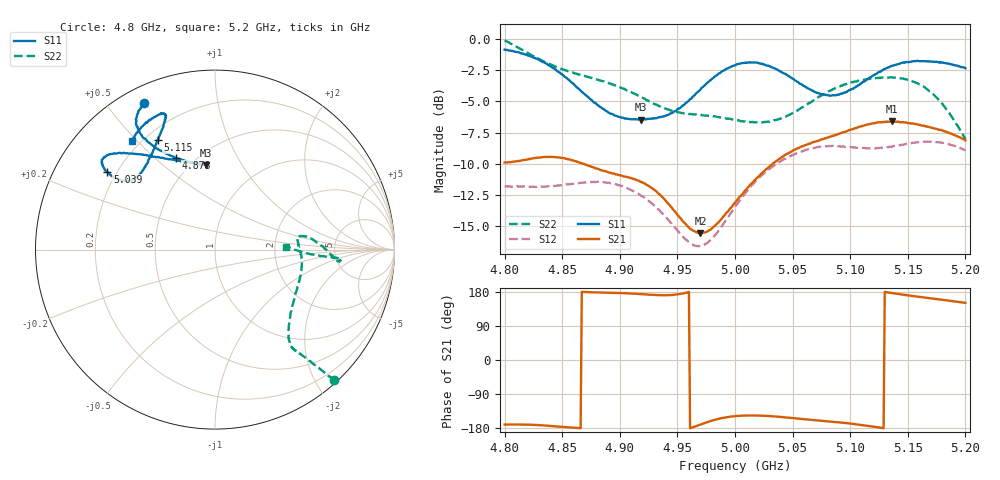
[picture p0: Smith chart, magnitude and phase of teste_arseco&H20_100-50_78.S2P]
! Network Analyzer HP8722D
! Hewlett-Packard
! Data name: Linha & Wilkinson
! Saver's name: Rodrigo Anjos
! Comments: Teste da utilização de aquisição
! continua pelo VNA HP8722D
! Time and date: 6/5/2025 13:13
!  Frequency  S11  S21  S12  S22
# HZ  S  MA R 50
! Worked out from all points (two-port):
!   401 points, 4.8 GHz to 5.2 GHz, reference 50 ohm
!   highest |S21| = -6.61 dB at 5.136 GHz (marker M1); lowest = -15.5 dB at 4.97 GHz (marker M2)
!   |S21| within 3 dB of the highest: 4.822 GHz to 4.854 GHz (31.85 MHz wide, 0.658 % of centre); 5.038 GHz to end of sweep (the widest 2 of 3)
!   lowest |S11| = -6.5 dB at 4.918 GHz (marker M3), VSWR 2.81, Z = 29.2 + j35.6 ohm
!   |S11| at or under -10 dB: nowhere
!   |S22| runs from -8.0 to -0.1 dB; largest |S21 - S12| = 0.83
!   S11 on the Smith chart (normalised r, x): 4.8 GHz: 0.07, +0.62; 4.878 GHz: 0.40, +0.59; 5.039 GHz: 0.16, +0.32; 5.115 GHz: 0.25, +0.58; 5.2 GHz: 0.17, +0.48
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4.8e9  0.9047 115.8  0.3202 -170.4  0.2568 -86.1  0.9846 -47.5
4.83e9  0.8234 122.2  0.3349 -171.9  0.2559 -78.2  0.8289 -49.5
4.846e9  0.7409 122.7  0.3357 -175.5  0.259 -72.9  0.7679 -50.4
4.867e9  0.613 118.0  0.3179 179.8  0.2654 -67.3  0.7158 -51.6
4.878e9  0.5544 113.0  0.3051 178.6  0.2675 -66.0  0.6921 -51.9
4.901e9  0.4838 100.7  0.2839 176.6  0.258 -66.7  0.6375 -50.0
4.918e9  0.4749 96.1  0.2681 173.9  0.2366 -68.6  0.5862 -45.2
4.934e9  0.4853 99.0  0.2394 171.1  0.2073 -69.4  0.5381 -37.6
4.948e9  0.5135 108.0  0.2031 172.3  0.1756 -66.6  0.5102 -28.4
4.97e9  0.6262 124.2  0.1669 -170.5  0.1486 -46.7  0.495 -14.4
4.981e9  0.6963 130.0  0.1762 -159.0  0.1606 -34.0  0.4897 -8.9
5e9  0.7843 137.2  0.2209 -148.4  0.2125 -21.4  0.4735 -0.4
5.019e9  0.803 141.8  0.2776 -146.6  0.2717 -18.3  0.4635 5.8
5.039e9  0.7403 144.1  0.3318 -150.0  0.3222 -18.3  0.4789 9.0
5.067e9  0.6215 142.0  0.3849 -158.0  0.3652 -20.6  0.5617 4.6
5.088e9  0.5948 133.0  0.4137 -164.0  0.3717 -23.7  0.6372 -1.7
5.115e9  0.6903 117.6  0.4542 -173.5  0.3644 -26.7  0.6902 -5.3
5.134e9  0.7702 111.1  0.4653 177.7  0.3693 -28.7  0.6998 -4.8
5.136e9  0.7785 110.8  0.4671 176.8  0.3694 -29.0  0.701 -4.7
5.165e9  0.8129 113.6  0.4466 164.6  0.3875 -36.3  0.6377 -3.7
5.18e9  0.8032 118.9  0.4299 158.9  0.3838 -40.9  0.5494 -2.9
5.2e9  0.7622 127.3  0.3924 150.8  0.3581 -46.3  0.3971 2.2
